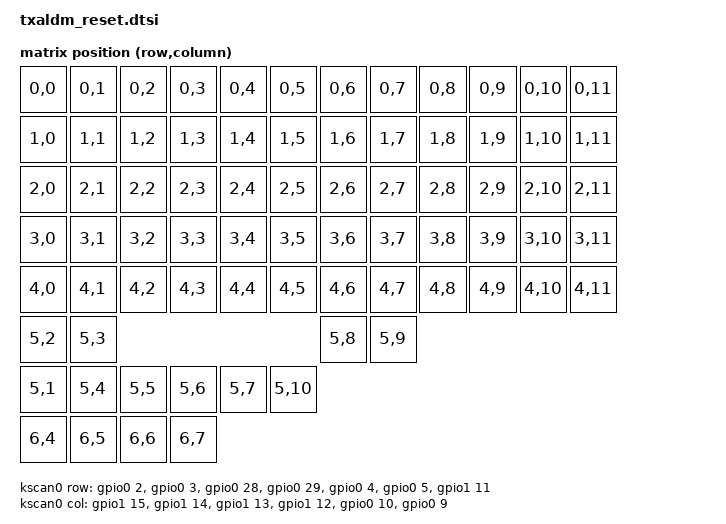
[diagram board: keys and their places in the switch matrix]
#include <dt-bindings/zmk/matrix_transform.h>

/ {
  chosen {
    zmk,kscan = &kscan0;
    zmk,matrix_transform = &default_transform;
  };

  default_transform: keymap_transform_0 {
    compatible = "zmk,matrix-transform";
    columns = <12>;
    rows = <7>;
    // | SW2  | SW3  | SW4  | SW5  | SW6  |   | SW6  | SW5  | SW4  | SW3  | SW2  |
    // | SW8  | SW9  | SW10 | SW11 | SW12 |   | SW12 | SW11 | SW10 | SW9  | SW8  |
    // | SW14 | SW15 | SW16 | SW17 | SW18 |   | SW18 | SW17 | SW16 | SW15 | SW14 |
    //                      | SW19 | SW20 | SW21 |   | SW21 | SW20 | SW19 |
    map = <
    RC(0,0) RC(0,1) RC(0,2) RC(0,3) RC(0,4) RC(0,5)  RC(0,6) RC(0,7) RC(0,8) RC(0,9) RC(0,10) RC(0,11)
    RC(1,0) RC(1,1) RC(1,2) RC(1,3) RC(1,4) RC(1,5)  RC(1,6) RC(1,7) RC(1,8) RC(1,9) RC(1,10) RC(1,11)
    RC(2,0) RC(2,1) RC(2,2) RC(2,3) RC(2,4) RC(2,5)  RC(2,6) RC(2,7) RC(2,8) RC(2,9) RC(2,10) RC(2,11)
    RC(3,0) RC(3,1) RC(3,2) RC(3,3) RC(3,4) RC(3,5)  RC(3,6) RC(3,7) RC(3,8) RC(3,9) RC(3,10) RC(3,11)
    RC(4,0) RC(4,1) RC(4,2) RC(4,3) RC(4,4) RC(4,5)  RC(4,6) RC(4,7) RC(4,8) RC(4,9) RC(4,10) RC(4,11)
    RC(5,2) RC(5,3)                                  RC(5,8) RC(5,9)
    RC(5,1) RC(5,4) RC(5,5)  RC(5,6) RC(5,7) RC(5,10)
    RC(6,4) RC(6,5)  RC(6,6) RC(6,7)
    >;
  };

  kscan0: kscan {
    compatible = "zmk,kscan-gpio-matrix";
    label = "KSCAN";

    diode-direction = "row2col";

    row-gpios
    = <&gpio0  2 (GPIO_ACTIVE_HIGH | GPIO_PULL_DOWN)>   //Row0
    , <&gpio0  3 (GPIO_ACTIVE_HIGH | GPIO_PULL_DOWN)>   //Row1
    , <&gpio0 28 (GPIO_ACTIVE_HIGH | GPIO_PULL_DOWN)>  //Row2
    , <&gpio0 29 (GPIO_ACTIVE_HIGH | GPIO_PULL_DOWN)>  //Row3
    , <&gpio0  4 (GPIO_ACTIVE_HIGH | GPIO_PULL_DOWN)>  //Row4
    , <&gpio0  5 (GPIO_ACTIVE_HIGH | GPIO_PULL_DOWN)>  //Row5
    , <&gpio1 11 (GPIO_ACTIVE_HIGH | GPIO_PULL_DOWN)>  //Row6
    ;
    
    col-gpios
			= <&gpio1 15 (GPIO_ACTIVE_HIGH | GPIO_PULL_DOWN)>   //Column0
			, <&gpio1 14 (GPIO_ACTIVE_HIGH | GPIO_PULL_DOWN)>   //Column1
			, <&gpio1 13 (GPIO_ACTIVE_HIGH | GPIO_PULL_DOWN)>  //Column2
			, <&gpio1 12 (GPIO_ACTIVE_HIGH | GPIO_PULL_DOWN)>  //Column3
			, <&gpio0 10 (GPIO_ACTIVE_HIGH | GPIO_PULL_DOWN)>  //Column4 NFC PIN 2
			, <&gpio0 9 (GPIO_ACTIVE_HIGH | GPIO_PULL_DOWN)>  //Column5 NFC PIN 1
			;  

  };

};

&xiao_spi {status = "disabled"; };
&xiao_i2c {status = "disabled"; };
&xiao_serial {status = "disabled"; };
